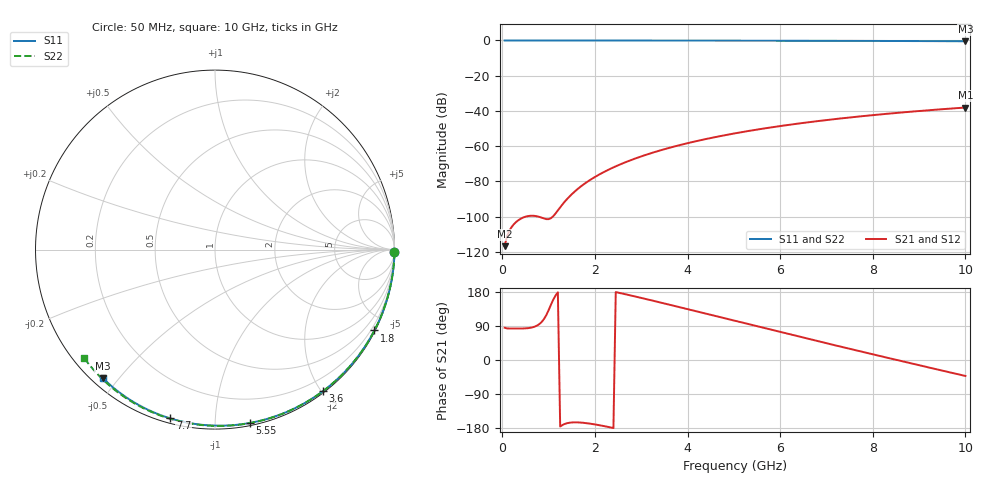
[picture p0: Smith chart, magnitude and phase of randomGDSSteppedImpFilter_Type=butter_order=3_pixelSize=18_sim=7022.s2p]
! freq	dB(S11)	phase(S11)	dB(S12)	phase(S12)
!  dB(S21)	phase(S21)	dB(S22)	phase(S22)
!S-par simulation data
#  GHz  S  DB  R 50
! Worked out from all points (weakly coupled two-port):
!   200 points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, 50 MHz to 10 GHz, reference 50 ohm
!   highest |S21| = -38.06 dB at 10 GHz (marker M1); lowest = -116.7 dB at 50 MHz (marker M2)
!   lowest |S11| = -0.4 dB at 10 GHz (marker M3), VSWR 39.12, Z = 1.54 - j22.7 ohm
!   |S11| at or under -10 dB: nowhere
!   |S22| runs from -0.5 to 0.0 dB; largest |S21 - S12| = 0
!   S11 on the Smith chart (normalised r, x): 50 MHz: open; 1.8 GHz: 0.04, -4.18; 3.6 GHz: 0.02, -2.02; 5.55 GHz: 0.02, -1.22; 7.7 GHz: 0.02, -0.77; 10 GHz: 0.03, -0.45
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0.05  -0.00 -0.8  -116.73 85.2  -116.73 85.2  -0.00 -0.8
0.45  -0.01 -6.8  -100.49 83.2  -100.49 83.2  -0.01 -7.3
0.9  -0.02 -13.6  -101.04 108.0  -101.04 108.0  -0.02 -14.5
1.75  -0.03 -26.2  -81.78 -165.7  -81.78 -165.7  -0.04 -28.0
1.8  -0.03 -26.9  -80.84 -166.4  -80.84 -166.4  -0.04 -28.8
1.85  -0.04 -27.6  -79.95 -167.2  -79.95 -167.2  -0.04 -29.6
2  -0.04 -29.8  -77.47 -170.0  -77.47 -170.0  -0.04 -31.9
2.15  -0.04 -32.0  -75.26 -173.3  -75.26 -173.3  -0.04 -34.2
2.35  -0.04 -34.9  -72.62 -178.2  -72.62 -178.2  -0.05 -37.3
2.55  -0.05 -37.8  -70.28 176.5  -70.28 176.5  -0.05 -40.4
2.95  -0.06 -43.5  -66.25 165.3  -66.25 165.3  -0.06 -46.5
3.4  -0.07 -49.8  -62.46 152.2  -62.46 152.2  -0.07 -53.2
3.6  -0.07 -52.6  -60.98 146.2  -60.98 146.2  -0.08 -56.2
4.3  -0.09 -62.1  -56.48 125.2  -56.48 125.2  -0.09 -66.4
5.05  -0.11 -72.1  -52.58 102.5  -52.58 102.5  -0.12 -76.9
5.55  -0.13 -78.5  -50.36 87.5  -50.36 87.5  -0.14 -83.8
6.1  -0.15 -85.5  -48.20 71.0  -48.20 71.0  -0.16 -91.2
6.7  -0.18 -92.9  -46.12 53.1  -46.12 53.1  -0.19 -99.1
7.7  -0.24 -104.9  -43.16 23.7  -43.16 23.7  -0.26 -111.9
8.35  -0.29 -112.5  -41.51 4.9  -41.51 4.9  -0.31 -120.0
9.2  -0.36 -122.2  -39.61 -19.5  -39.61 -19.5  -0.39 -130.5
10  -0.44 -131.2  -38.06 -42.2  -38.06 -42.2  -0.48 -140.3
